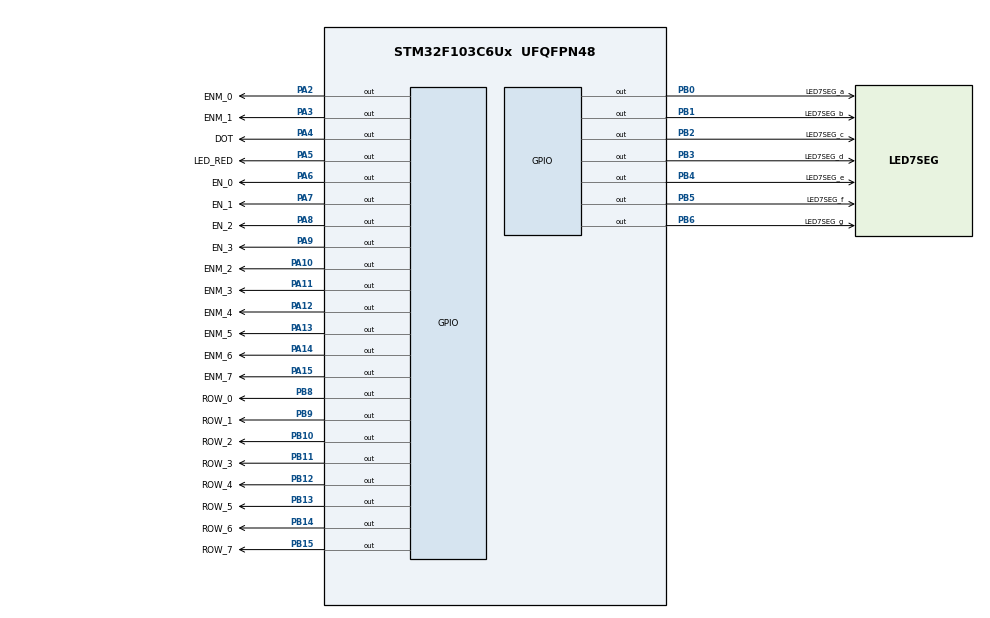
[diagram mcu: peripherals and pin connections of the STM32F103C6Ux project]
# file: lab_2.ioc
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Mcu.Family=STM32F1
Mcu.Name=STM32F103C6Ux
Mcu.Package=UFQFPN48
NVIC.PriorityGroup=NVIC_PRIORITYGROUP_4
NVIC.TIM2_IRQn=true\:0\:0\:false\:false\:true\:true\:true\:true
PA10.GPIO_Label=ENM_2
PA10.Signal=GPIO_Output
PA11.GPIO_Label=ENM_3
PA11.Signal=GPIO_Output
PA12.GPIO_Label=ENM_4
PA12.Signal=GPIO_Output
PA13.GPIO_Label=ENM_5
PA13.Signal=GPIO_Output
PA14.GPIO_Label=ENM_6
PA14.Signal=GPIO_Output
PA15.GPIO_Label=ENM_7
PA15.Signal=GPIO_Output
PA2.GPIO_Label=ENM_0
PA2.Signal=GPIO_Output
PA3.GPIO_Label=ENM_1
PA3.Signal=GPIO_Output
PA4.GPIO_Label=DOT
PA4.Signal=GPIO_Output
PA5.GPIO_Label=LED_RED
PA5.Signal=GPIO_Output
PA6.GPIO_Label=EN_0
PA6.Signal=GPIO_Output
PA7.GPIO_Label=EN_1
PA7.Signal=GPIO_Output
PA8.GPIO_Label=EN_2
PA8.Signal=GPIO_Output
PA9.GPIO_Label=EN_3
PA9.Signal=GPIO_Output
PB0.GPIO_Label=LED7SEG_a
PB0.Signal=GPIO_Output
PB1.GPIO_Label=LED7SEG_b
PB1.Signal=GPIO_Output
PB10.GPIO_Label=ROW_2
PB10.Signal=GPIO_Output
PB11.GPIO_Label=ROW_3
PB11.Signal=GPIO_Output
PB12.GPIO_Label=ROW_4
PB12.Signal=GPIO_Output
PB13.GPIO_Label=ROW_5
PB13.Signal=GPIO_Output
PB14.GPIO_Label=ROW_6
PB14.Signal=GPIO_Output
PB15.GPIO_Label=ROW_7
PB15.Signal=GPIO_Output
PB2.GPIO_Label=LED7SEG_c
PB2.Signal=GPIO_Output
PB3.GPIO_Label=LED7SEG_d
PB3.Signal=GPIO_Output
PB4.GPIO_Label=LED7SEG_e
PB4.Signal=GPIO_Output
PB5.GPIO_Label=LED7SEG_f
PB5.Signal=GPIO_Output
PB6.GPIO_Label=LED7SEG_g
PB6.Signal=GPIO_Output
PB8.GPIO_Label=ROW_0
PB8.Signal=GPIO_Output
PB9.GPIO_Label=ROW_1
PB9.Signal=GPIO_Output
ProjectManager.HeapSize=0x200
ProjectManager.StackSize=0x400
ProjectManager.TargetToolchain=STM32CubeIDE
RCC.APB1Freq_Value=8000000
RCC.APB2Freq_Value=8000000
TIM2.Period=9
TIM2.Prescaler=7999
VP_SYS_VS_ND.Mode=No_Debug
VP_TIM2_VS_ClockSourceINT.Mode=Internal
board=custom

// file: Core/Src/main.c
/* USER CODE BEGIN Header */
/**
 ******************************************************************************
 * @file           : main.c
 * @brief          : Main program body
 ******************************************************************************
 * @attention
 *
 * Copyright (c) 2025 STMicroelectronics.
 * All rights reserved.
 *
 * This software is licensed under terms that can be found in the LICENSE file
 * in the root directory of this software component.
 * If no LICENSE file comes with this software, it is provided AS-IS.
 *
 ******************************************************************************
 */
/* USER CODE END Header */
#include "main.h"
#include "tim.h"
#include "gpio.h"

/* USER CODE BEGIN Includes */
#include "led7seg.h"
#include "software_timer.h"
#include "led_matrix.h"
/* USER CODE END Includes */

/* USER CODE BEGIN PD */
#define TIMER_LED_DEBUG 		0
#define TIMER_7SEG_DOT 			1
#define TIMER_7SEG_LED 			2
#define TIMER_LED_MATRIX		3
#define TIMER_LED_MATRIX_SHIFT 	4
/* USER CODE END PD */

/* USER CODE BEGIN PV */
int hour = 15, minute = 59, second = 58;
/* USER CODE END PV */

void SystemClock_Config(void);
/* USER CODE BEGIN PFP */
void updateClockBuffer();
/* USER CODE END PFP */

int main(void)
{

	/* MCU Configuration--------------------------------------------------------*/

	/* Reset of all peripherals, Initializes the Flash interface and the Systick. */
	HAL_Init();

	/* Configure the system clock */
	SystemClock_Config();

	/* Initialize all configured peripherals */
	MX_GPIO_Init();
	MX_TIM2_Init();
	/* USER CODE BEGIN 2 */
	HAL_TIM_Base_Start_IT(&htim2);
	updateClockBuffer();
	update7SEG(index_led++);
	HAL_GPIO_WritePin(DOT_GPIO_Port, DOT_Pin, 0);
	timer_set(TIMER_LED_DEBUG, 500);
	timer_set(TIMER_7SEG_DOT, 1000);
	timer_set(TIMER_7SEG_LED, 250);
	timer_set(TIMER_LED_MATRIX, 250);
	timer_set(TIMER_LED_MATRIX_SHIFT, 1000);
	/**
	 * Report 1: If this line is missed, the software timer will not work! :O
	 */
	/**
	 * Report 2: 1 is smaller than 10, which is the current interrupt period; thus, the counter still ends up as 0
	 * after the division. Bangggg!
	 */
	/**
	 * Report 3: The counter can be set as 1 which means that the flag has a chance to be raised, resulting in a proper
	 * timer interrupt. BUuumm!
	 */
	/* USER CODE END 2 */

	/* Infinite loop */
	/* USER CODE BEGIN WHILE */
	while (1)
	{
		if (timer_is_expired(TIMER_7SEG_DOT)) {
			led_7seg_toggle_dot();

			second++;
			if (second >= 60){
				second = 0;
				minute++;
			}
			if (minute >= 60){
				minute = 0;
				hour++;
			}
			if (hour >= 24){
				hour = 0;
			}

			timer_set(TIMER_7SEG_DOT, 1000);
		}

		if (timer_is_expired(TIMER_7SEG_LED)) {
			updateClockBuffer();
			update7SEG(index_led++);
			if (index_led >= 4) {
				index_led = 0;
			}

			timer_set(TIMER_7SEG_LED, 250);
		}

		if(timer_is_expired(TIMER_LED_DEBUG)){
			HAL_GPIO_TogglePin(LED_RED_GPIO_Port, LED_RED_Pin);
			timer_set(TIMER_LED_DEBUG, 500);
		}

		if (timer_is_expired(TIMER_LED_MATRIX)) {
			updateLEDMatrix(index_led_matrix++);
			if (index_led_matrix == 8) {
				index_led_matrix = 0;
			}
			timer_set(TIMER_LED_MATRIX, 10);
		}

		if (timer_is_expired(TIMER_LED_MATRIX_SHIFT)) {
			shift_left_matrix();
			timer_set(TIMER_LED_MATRIX_SHIFT, 1000);
		}
		/* USER CODE END WHILE */

	}
}

void SystemClock_Config(void)
{
	RCC_OscInitTypeDef RCC_OscInitStruct = {0};
	RCC_ClkInitTypeDef RCC_ClkInitStruct = {0};

	/** Initializes the RCC Oscillators according to the specified parameters
	 * in the RCC_OscInitTypeDef structure.
	 */
	RCC_OscInitStruct.OscillatorType = RCC_OSCILLATORTYPE_HSI;
	RCC_OscInitStruct.HSIState = RCC_HSI_ON;
	RCC_OscInitStruct.HSICalibrationValue = RCC_HSICALIBRATION_DEFAULT;
	RCC_OscInitStruct.PLL.PLLState = RCC_PLL_NONE;
	if (HAL_RCC_OscConfig(&RCC_OscInitStruct) != HAL_OK)
	{
		Error_Handler();
	}

	/** Initializes the CPU, AHB and APB buses clocks
	 */
	RCC_ClkInitStruct.ClockType = RCC_CLOCKTYPE_HCLK|RCC_CLOCKTYPE_SYSCLK
			|RCC_CLOCKTYPE_PCLK1|RCC_CLOCKTYPE_PCLK2;
	RCC_ClkInitStruct.SYSCLKSource = RCC_SYSCLKSOURCE_HSI;
	RCC_ClkInitStruct.AHBCLKDivider = RCC_SYSCLK_DIV1;
	RCC_ClkInitStruct.APB1CLKDivider = RCC_HCLK_DIV1;
	RCC_ClkInitStruct.APB2CLKDivider = RCC_HCLK_DIV1;

	if (HAL_RCC_ClockConfig(&RCC_ClkInitStruct, FLASH_LATENCY_0) != HAL_OK)
	{
		Error_Handler();
	}
}

/* USER CODE BEGIN 4 */
void updateClockBuffer()
{
	led_buffer[0] = hour / 10;
	led_buffer[1] = hour % 10;
	led_buffer[2] = minute / 10;
	led_buffer[3] = minute % 10;
}
/* USER CODE END 4 */

void Error_Handler(void)
{
	__disable_irq();
	while (1)
	{
	}
}
